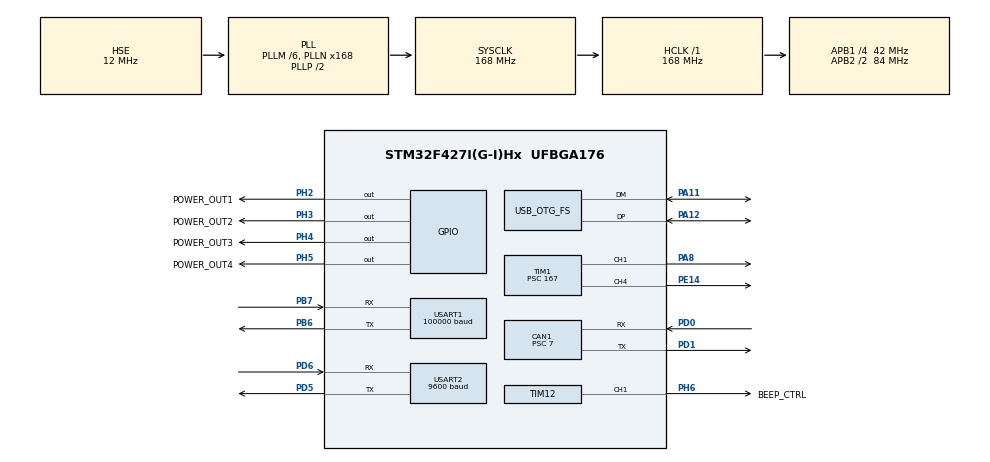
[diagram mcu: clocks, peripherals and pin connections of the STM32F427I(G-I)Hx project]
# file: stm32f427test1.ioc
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CAN1.ABOM=ENABLE
CAN1.AWUM=ENABLE
CAN1.BS1=CAN_BS1_2TQ
CAN1.BS2=CAN_BS2_3TQ
CAN1.CalculateTimeQuantum=166.66666666666669
CAN1.NART=ENABLE
CAN1.Prescaler=7
CAN1.RFLM=DISABLE
CAN1.TXFP=ENABLE
Dma.Request0=USART1_RX
Dma.Request1=USART2_TX
Dma.Request2=USART2_RX
Dma.USART1_RX.0.Direction=DMA_PERIPH_TO_MEMORY
Dma.USART1_RX.0.FIFOMode=DMA_FIFOMODE_DISABLE
Dma.USART1_RX.0.Instance=DMA2_Stream5
Dma.USART1_RX.0.MemDataAlignment=DMA_MDATAALIGN_BYTE
Dma.USART1_RX.0.MemInc=DMA_MINC_ENABLE
Dma.USART1_RX.0.Mode=DMA_CIRCULAR
Dma.USART1_RX.0.PeriphDataAlignment=DMA_PDATAALIGN_BYTE
Dma.USART1_RX.0.PeriphInc=DMA_PINC_DISABLE
Dma.USART1_RX.0.Priority=DMA_PRIORITY_LOW
Dma.USART2_RX.2.Direction=DMA_PERIPH_TO_MEMORY
Dma.USART2_RX.2.FIFOMode=DMA_FIFOMODE_DISABLE
Dma.USART2_RX.2.Instance=DMA1_Stream5
Dma.USART2_RX.2.MemDataAlignment=DMA_MDATAALIGN_BYTE
Dma.USART2_RX.2.MemInc=DMA_MINC_ENABLE
Dma.USART2_RX.2.Mode=DMA_CIRCULAR
Dma.USART2_RX.2.PeriphDataAlignment=DMA_PDATAALIGN_BYTE
Dma.USART2_RX.2.PeriphInc=DMA_PINC_DISABLE
Dma.USART2_RX.2.Priority=DMA_PRIORITY_HIGH
Dma.USART2_TX.1.Direction=DMA_MEMORY_TO_PERIPH
Dma.USART2_TX.1.FIFOMode=DMA_FIFOMODE_DISABLE
Dma.USART2_TX.1.Instance=DMA1_Stream6
Dma.USART2_TX.1.MemDataAlignment=DMA_MDATAALIGN_BYTE
Dma.USART2_TX.1.MemInc=DMA_MINC_ENABLE
Dma.USART2_TX.1.Mode=DMA_NORMAL
Dma.USART2_TX.1.PeriphDataAlignment=DMA_PDATAALIGN_BYTE
Dma.USART2_TX.1.PeriphInc=DMA_PINC_DISABLE
Dma.USART2_TX.1.Priority=DMA_PRIORITY_HIGH
FREERTOS.BinarySemaphores01=myBinarySem01,Dynamic,NULL
FREERTOS.CountingSemaphores01=myCountingSem01,5,Dynamic,NULL
FREERTOS.INCLUDE_vTaskDelay=1
FREERTOS.INCLUDE_vTaskDelayUntil=1
FREERTOS.Queues01=myQueue01,5,uint16_t,0,Dynamic,NULL,NULL
FREERTOS.Tasks01=StartCreat,0,128,StartCreatTask,Default,NULL,Dynamic,NULL,NULL;myTask01,-3,128,StartTask01,Default,NULL,Dynamic,NULL,NULL
FREERTOS.configUSE_COUNTING_SEMAPHORES=1
Mcu.Family=STM32F4
Mcu.Name=STM32F427I(G-I)Hx
Mcu.Package=UFBGA176
NVIC.CAN1_RX0_IRQn=true\:5\:0\:true\:false\:true\:true\:true
NVIC.CAN1_TX_IRQn=true\:5\:0\:true\:false\:true\:true\:true
NVIC.DMA1_Stream5_IRQn=true\:5\:0\:false\:false\:true\:true\:false
NVIC.DMA1_Stream6_IRQn=true\:5\:0\:false\:false\:true\:true\:false
NVIC.DMA2_Stream5_IRQn=true\:5\:0\:false\:false\:true\:true\:false
NVIC.OTG_FS_IRQn=true\:5\:0\:false\:false\:true\:true\:false
NVIC.PriorityGroup=NVIC_PRIORITYGROUP_4
NVIC.TIM2_IRQn=true\:0\:0\:false\:false\:true\:false\:false
NVIC.TimeBase=TIM2_IRQn
NVIC.TimeBaseIP=TIM2
NVIC.USART1_IRQn=true\:5\:0\:true\:false\:true\:true\:true
NVIC.USART2_IRQn=true\:5\:0\:true\:false\:true\:true\:true
PA11.Mode=Device_Only
PA11.Signal=USB_OTG_FS_DM
PA12.Mode=Device_Only
PA12.Signal=USB_OTG_FS_DP
PA13.Mode=Serial_Wire
PA13.Signal=SYS_JTMS-SWDIO
PA14.Mode=Serial_Wire
PA14.Signal=SYS_JTCK-SWCLK
PA8.Signal=S_TIM1_CH1
PB6.Mode=Asynchronous
PB6.Signal=USART1_TX
PB7.Mode=Asynchronous
PB7.Signal=USART1_RX
PD0.Mode=Master
PD0.Signal=CAN1_RX
PD1.Mode=Master
PD1.Signal=CAN1_TX
PD5.Mode=Asynchronous
PD5.Signal=USART2_TX
PD6.Mode=Asynchronous
PD6.Signal=USART2_RX
PE14.Signal=S_TIM1_CH4
PH0/OSC_IN.Mode=HSE-External-Oscillator
PH0/OSC_IN.Signal=RCC_OSC_IN
PH1/OSC_OUT.Mode=HSE-External-Oscillator
PH1/OSC_OUT.Signal=RCC_OSC_OUT
PH2.GPIO_Label=POWER_OUT1
PH2.Signal=GPIO_Output
PH3.GPIO_Label=POWER_OUT2
PH3.Signal=GPIO_Output
PH4.GPIO_Label=POWER_OUT3
PH4.Signal=GPIO_Output
PH5.GPIO_Label=POWER_OUT4
PH5.Signal=GPIO_Output
PH6.GPIO_Label=BEEP_CTRL
PH6.GPIO_ModeDefaultPP=GPIO_MODE_AF_PP
PH6.Signal=S_TIM12_CH1
ProjectManager.HeapSize=0x200
ProjectManager.StackSize=0x400
ProjectManager.TargetToolchain=MDK-ARM V5
RCC.48MHZClocksFreq_Value=48000000
RCC.AHBFreq_Value=168000000
RCC.APB1CLKDivider=RCC_HCLK_DIV4
RCC.APB1Freq_Value=42000000
RCC.APB1TimFreq_Value=84000000
RCC.APB2CLKDivider=RCC_HCLK_DIV2
RCC.APB2Freq_Value=84000000
RCC.APB2TimFreq_Value=168000000
RCC.CortexFreq_Value=168000000
RCC.HCLKFreq_Value=168000000
RCC.HSE_VALUE=12000000
RCC.HSI_VALUE=16000000
RCC.LSE_VALUE=32768
RCC.PLLM=6
RCC.PLLN=168
RCC.PLLQ=7
RCC.SYSCLKFreq_VALUE=168000000
RCC.SYSCLKSource=RCC_SYSCLKSOURCE_PLLCLK
RCC.VCOOutputFreq_Value=336000000
SH.S_TIM12_CH1.0=TIM12_CH1,PWM Generation1 CH1
SH.S_TIM1_CH1.0=TIM1_CH1,PWM Generation1 CH1
SH.S_TIM1_CH4.0=TIM1_CH4,PWM Generation4 CH4
TIM1.Channel-PWM\ Generation1\ CH1=TIM_CHANNEL_1
TIM1.Channel-PWM\ Generation4\ CH4=TIM_CHANNEL_4
TIM1.Period=20000-1
TIM1.Prescaler=167
TIM1.Pulse-PWM\ Generation1\ CH1=1000
TIM1.Pulse-PWM\ Generation4\ CH4=1000
TIM12.Channel-PWM\ Generation1\ CH1=TIM_CHANNEL_1
TIM12.Period=20000-1
TIM12.Prescaler=83
USART1.BaudRate=100000
USART1.Mode=MODE_RX
USART1.Parity=PARITY_EVEN
USART1.VirtualMode=VM_ASYNC
USART2.BaudRate=9600
USART2.VirtualMode=VM_ASYNC
USB_DEVICE.CLASS_NAME_FS=CDC
USB_DEVICE.VirtualMode-CDC_FS=Cdc
USB_DEVICE.VirtualModeFS=Cdc_FS
USB_OTG_FS.VirtualMode=Device_Only
VP_FREERTOS_VS_ENABLE.Mode=Enabled
VP_SYS_VS_tim2.Mode=TIM2
VP_TIM1_VS_ClockSourceINT.Mode=Internal
VP_USB_DEVICE_VS_USB_DEVICE_CDC_FS.Mode=CDC_FS
board=custom

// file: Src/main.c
/**
  ******************************************************************************
  * @file           : main.c
  * @brief          : Main program body
  ******************************************************************************
  * This notice applies to any and all portions of this file
  * that are not between comment pairs USER CODE BEGIN and
  * USER CODE END. Other portions of this file, whether
  * inserted by the user or by software development tools
  * are owned by their respective copyright owners.
  *
  * Copyright (c) 2019 STMicroelectronics International N.V.
  * All rights reserved.
  *
  * Redistribution and use in source and binary forms, with or without
  * modification, are permitted, provided that the following conditions are met:
  *
  * 1. Redistribution of source code must retain the above copyright notice,
  *    this list of conditions and the following disclaimer.
  * 2. Redistributions in binary form must reproduce the above copyright notice,
  *    this list of conditions and the following disclaimer in the documentation
  *    and/or other materials provided with the distribution.
  * 3. Neither the name of STMicroelectronics nor the names of other
  *    contributors to this software may be used to endorse or promote products
  *    derived from this software without specific written permission.
  * 4. This software, including modifications and/or derivative works of this
  *    software, must execute solely and exclusively on microcontroller or
  *    microprocessor devices manufactured by or for STMicroelectronics.
  * 5. Redistribution and use of this software other than as permitted under
  *    this license is void and will automatically terminate your rights under
  *    this license.
  *
  * THIS SOFTWARE IS PROVIDED BY STMICROELECTRONICS AND CONTRIBUTORS "AS IS"
  * AND ANY EXPRESS, IMPLIED OR STATUTORY WARRANTIES, INCLUDING, BUT NOT
  * LIMITED TO, THE IMPLIED WARRANTIES OF MERCHANTABILITY, FITNESS FOR A
  * PARTICULAR PURPOSE AND NON-INFRINGEMENT OF THIRD PARTY INTELLECTUAL PROPERTY
  * RIGHTS ARE DISCLAIMED TO THE FULLEST EXTENT PERMITTED BY LAW. IN NO EVENT
  * SHALL STMICROELECTRONICS OR CONTRIBUTORS BE LIABLE FOR ANY DIRECT, INDIRECT,
  * INCIDENTAL, SPECIAL, EXEMPLARY, OR CONSEQUENTIAL DAMAGES (INCLUDING, BUT NOT
  * LIMITED TO, PROCUREMENT OF SUBSTITUTE GOODS OR SERVICES; LOSS OF USE, DATA,
  * OR PROFITS; OR BUSINESS INTERRUPTION) HOWEVER CAUSED AND ON ANY THEORY OF
  * LIABILITY, WHETHER IN CONTRACT, STRICT LIABILITY, OR TORT (INCLUDING
  * NEGLIGENCE OR OTHERWISE) ARISING IN ANY WAY OUT OF THE USE OF THIS SOFTWARE,
  * EVEN IF ADVISED OF THE POSSIBILITY OF SUCH DAMAGE.
  *
  ******************************************************************************
  */
#include "main.h"
#include "stm32f4xx_hal.h"
#include "cmsis_os.h"
#include "usb_device.h"

/* USER CODE BEGIN Includes */
//#include "usart.h"
#include "can.h"
#include "usart.h"
#include "freecars_usart.h"
#include "mpu6600_hal.h"
//#include "Tim.h"
#include "pwm.h"
#include "RC_handle.h"
/* USER CODE END Includes */

CAN_HandleTypeDef hcan1;

TIM_HandleTypeDef htim1;
TIM_HandleTypeDef htim12;

UART_HandleTypeDef huart1;
UART_HandleTypeDef huart2;
DMA_HandleTypeDef hdma_usart1_rx;
DMA_HandleTypeDef hdma_usart2_tx;
DMA_HandleTypeDef hdma_usart2_rx;

osThreadId StartCreatHandle;
osThreadId myTask01Handle;
osMessageQId myQueue01Handle;
osSemaphoreId myBinarySem01Handle;
osSemaphoreId myCountingSem01Handle;

/* USER CODE BEGIN PV */
/* Private variables ---------------------------------------------------------*/

//SPI_HandleTypeDef hspi5;  //声明spi句柄

//void myRX_usart_IT(void);
//void myTX_usart_IT(void);
void myUsart_DMA_TX(void);
void myUsart_DMA_RX(void);
void drv_can_init(void);
void dr16_uart_init(void );
void MY_FREERTOS_INIT(void);

/* USER CODE END PV */

void SystemClock_Config(void);
static void MX_GPIO_Init(void);
static void MX_DMA_Init(void);
static void MX_USART1_UART_Init(void);
static void MX_CAN1_Init(void);
static void MX_USART2_UART_Init(void);
static void MX_TIM12_Init(void);
static void MX_TIM1_Init(void);
void StartCreatTask(void const * argument);
void StartTask01(void const * argument);

void HAL_TIM_MspPostInit(TIM_HandleTypeDef *htim);

/* USER CODE BEGIN PFP */
/* Private function prototypes -----------------------------------------------*/

/* USER CODE END PFP */

int main(void)
{

  /* MCU Configuration----------------------------------------------------------*/

  /* Reset of all peripherals, Initializes the Flash interface and the Systick. */
  HAL_Init();

  /* Configure the system clock */
  SystemClock_Config();

  /* Initialize all configured peripherals */
  MX_GPIO_Init();
  MX_DMA_Init();
  MX_USART1_UART_Init();
  MX_CAN1_Init();
  MX_USART2_UART_Init();
  MX_TIM12_Init();
  MX_TIM1_Init();
  /* USER CODE BEGIN 2 */

  HAL_TIM_PWM_Start(&htim1,TIM_CHANNEL_1);
  HAL_TIM_PWM_Start(&htim1,TIM_CHANNEL_4);
  //myRX_usart_IT();//USART中断mode
	//myTX_usart_IT();//USART中断mode
	//myUsart_DMA_TX();//DMA mode  USART2
	myUsart_DMA_RX();//DMA mode	 USART2  circular接收
	dr16_uart_init();  //USART1空闲中断，接收不定长遥控数据
	drv_can_init();//CAN过滤器配置
	HAL_GPIO_WritePin(GPIOH, POWER_OUT1_Pin|POWER_OUT2_Pin|POWER_OUT3_Pin|POWER_OUT4_Pin, GPIO_PIN_SET); // switch on 24v power
	//tim_start();
	//HAL_TIM_PWM_Start(&htim1,TIM_CHANNEL_1);
	//HAL_TIM_PWM_Start(&htim1,TIM_CHANNEL_4);
	//htim1.Instance->CCR1 = 1000;
	//htim1.Instance->CCR4 = 500;
	// pwmInit(50,5.0);
	//pwm_device_init();
  //mpuInit();
  /* USER CODE END 2 */

  /* Create the semaphores(s) */
  /* definition and creation of myBinarySem01 */
  osSemaphoreDef(myBinarySem01);
  myBinarySem01Handle = osSemaphoreCreate(osSemaphore(myBinarySem01), 1);

  /* definition and creation of myCountingSem01 */
  osSemaphoreDef(myCountingSem01);
  myCountingSem01Handle = osSemaphoreCreate(osSemaphore(myCountingSem01), 5);

  /* Create the thread(s) */
  /* definition and creation of StartCreat */
  osThreadDef(StartCreat, StartCreatTask, osPriorityNormal, 0, 128);
  StartCreatHandle = osThreadCreate(osThread(StartCreat), NULL);

  /* definition and creation of myTask01 */
  osThreadDef(myTask01, StartTask01, osPriorityIdle, 0, 128);
  myTask01Handle = osThreadCreate(osThread(myTask01), NULL);

  /* USER CODE BEGIN RTOS_THREADS */
  /* add threads, ... */
	MY_FREERTOS_INIT();
  /* USER CODE END RTOS_THREADS */

  /* Create the queue(s) */
  /* definition and creation of myQueue01 */
/* what about the sizeof here??? cd native code */
  osMessageQDef(myQueue01, 5, uint16_t);
  myQueue01Handle = osMessageCreate(osMessageQ(myQueue01), NULL);

  /* USER CODE BEGIN RTOS_QUEUES */
  /* add queues, ... */
	//portEXIT_CRITICAL();//启动ISR中断嵌套
  /* USER CODE END RTOS_QUEUES */

  /* Start scheduler */
  osKernelStart();

  /* We should never get here as control is now taken by the scheduler */

  /* Infinite loop */
  while (1)
  {

  /* USER CODE BEGIN 3 */

		//HAL_UART_Transmit(&huart2,(uint8_t*)aRxBuffer,2,0xffff);

  }
  /* USER CODE END 3 */

}

void SystemClock_Config(void)
{

  RCC_OscInitTypeDef RCC_OscInitStruct;
  RCC_ClkInitTypeDef RCC_ClkInitStruct;

    /**Configure the main internal regulator output voltage
    */
  __HAL_RCC_PWR_CLK_ENABLE();

  __HAL_PWR_VOLTAGESCALING_CONFIG(PWR_REGULATOR_VOLTAGE_SCALE1);

    /**Initializes the CPU, AHB and APB busses clocks
    */
  RCC_OscInitStruct.OscillatorType = RCC_OSCILLATORTYPE_HSE;
  RCC_OscInitStruct.HSEState = RCC_HSE_ON;
  RCC_OscInitStruct.PLL.PLLState = RCC_PLL_ON;
  RCC_OscInitStruct.PLL.PLLSource = RCC_PLLSOURCE_HSE;
  RCC_OscInitStruct.PLL.PLLM = 6;
  RCC_OscInitStruct.PLL.PLLN = 168;
  RCC_OscInitStruct.PLL.PLLP = RCC_PLLP_DIV2;
  RCC_OscInitStruct.PLL.PLLQ = 7;
  if (HAL_RCC_OscConfig(&RCC_OscInitStruct) != HAL_OK)
  {
    _Error_Handler(__FILE__, __LINE__);
  }

    /**Initializes the CPU, AHB and APB busses clocks
    */
  RCC_ClkInitStruct.ClockType = RCC_CLOCKTYPE_HCLK|RCC_CLOCKTYPE_SYSCLK
                              |RCC_CLOCKTYPE_PCLK1|RCC_CLOCKTYPE_PCLK2;
  RCC_ClkInitStruct.SYSCLKSource = RCC_SYSCLKSOURCE_PLLCLK;
  RCC_ClkInitStruct.AHBCLKDivider = RCC_SYSCLK_DIV1;
  RCC_ClkInitStruct.APB1CLKDivider = RCC_HCLK_DIV4;
  RCC_ClkInitStruct.APB2CLKDivider = RCC_HCLK_DIV2;

  if (HAL_RCC_ClockConfig(&RCC_ClkInitStruct, FLASH_LATENCY_5) != HAL_OK)
  {
    _Error_Handler(__FILE__, __LINE__);
  }

    /**Configure the Systick interrupt time
    */
  HAL_SYSTICK_Config(HAL_RCC_GetHCLKFreq()/1000);

    /**Configure the Systick
    */
  HAL_SYSTICK_CLKSourceConfig(SYSTICK_CLKSOURCE_HCLK);

  /* SysTick_IRQn interrupt configuration */
  HAL_NVIC_SetPriority(SysTick_IRQn, 15, 0);
}

/* CAN1 init function */
static void MX_CAN1_Init(void)
{

  hcan1.Instance = CAN1;
  hcan1.Init.Prescaler = 7;
  hcan1.Init.Mode = CAN_MODE_NORMAL;
  hcan1.Init.SyncJumpWidth = CAN_SJW_1TQ;
  hcan1.Init.TimeSeg1 = CAN_BS1_2TQ;
  hcan1.Init.TimeSeg2 = CAN_BS2_3TQ;
  hcan1.Init.TimeTriggeredMode = DISABLE;
  hcan1.Init.AutoBusOff = ENABLE;
  hcan1.Init.AutoWakeUp = ENABLE;
  hcan1.Init.AutoRetransmission = ENABLE;
  hcan1.Init.ReceiveFifoLocked = DISABLE;
  hcan1.Init.TransmitFifoPriority = ENABLE;
  if (HAL_CAN_Init(&hcan1) != HAL_OK)
  {
    _Error_Handler(__FILE__, __LINE__);
  }

}

/* TIM1 init function */
static void MX_TIM1_Init(void)
{

  TIM_ClockConfigTypeDef sClockSourceConfig;
  TIM_MasterConfigTypeDef sMasterConfig;
  TIM_OC_InitTypeDef sConfigOC;
  TIM_BreakDeadTimeConfigTypeDef sBreakDeadTimeConfig;

  htim1.Instance = TIM1;
  htim1.Init.Prescaler = 167;
  htim1.Init.CounterMode = TIM_COUNTERMODE_UP;
  htim1.Init.Period = 20000-1;
  htim1.Init.ClockDivision = TIM_CLOCKDIVISION_DIV1;
  htim1.Init.RepetitionCounter = 0;
  if (HAL_TIM_Base_Init(&htim1) != HAL_OK)
  {
    _Error_Handler(__FILE__, __LINE__);
  }

  sClockSourceConfig.ClockSource = TIM_CLOCKSOURCE_INTERNAL;
  if (HAL_TIM_ConfigClockSource(&htim1, &sClockSourceConfig) != HAL_OK)
  {
    _Error_Handler(__FILE__, __LINE__);
  }

  if (HAL_TIM_PWM_Init(&htim1) != HAL_OK)
  {
    _Error_Handler(__FILE__, __LINE__);
  }

  sMasterConfig.MasterOutputTrigger = TIM_TRGO_RESET;
  sMasterConfig.MasterSlaveMode = TIM_MASTERSLAVEMODE_DISABLE;
  if (HAL_TIMEx_MasterConfigSynchronization(&htim1, &sMasterConfig) != HAL_OK)
  {
    _Error_Handler(__FILE__, __LINE__);
  }

  sConfigOC.OCMode = TIM_OCMODE_PWM1;
  sConfigOC.Pulse = 1000;
  sConfigOC.OCPolarity = TIM_OCPOLARITY_HIGH;
  sConfigOC.OCNPolarity = TIM_OCNPOLARITY_HIGH;
  sConfigOC.OCFastMode = TIM_OCFAST_DISABLE;
  sConfigOC.OCIdleState = TIM_OCIDLESTATE_RESET;
  sConfigOC.OCNIdleState = TIM_OCNIDLESTATE_RESET;
  if (HAL_TIM_PWM_ConfigChannel(&htim1, &sConfigOC, TIM_CHANNEL_1) != HAL_OK)
  {
    _Error_Handler(__FILE__, __LINE__);
  }

  if (HAL_TIM_PWM_ConfigChannel(&htim1, &sConfigOC, TIM_CHANNEL_4) != HAL_OK)
  {
    _Error_Handler(__FILE__, __LINE__);
  }

  sBreakDeadTimeConfig.OffStateRunMode = TIM_OSSR_DISABLE;
  sBreakDeadTimeConfig.OffStateIDLEMode = TIM_OSSI_DISABLE;
  sBreakDeadTimeConfig.LockLevel = TIM_LOCKLEVEL_OFF;
  sBreakDeadTimeConfig.DeadTime = 0;
  sBreakDeadTimeConfig.BreakState = TIM_BREAK_DISABLE;
  sBreakDeadTimeConfig.BreakPolarity = TIM_BREAKPOLARITY_HIGH;
  sBreakDeadTimeConfig.AutomaticOutput = TIM_AUTOMATICOUTPUT_DISABLE;
  if (HAL_TIMEx_ConfigBreakDeadTime(&htim1, &sBreakDeadTimeConfig) != HAL_OK)
  {
    _Error_Handler(__FILE__, __LINE__);
  }

  HAL_TIM_MspPostInit(&htim1);

}

/* TIM12 init function */
static void MX_TIM12_Init(void)
{

  TIM_OC_InitTypeDef sConfigOC;

  htim12.Instance = TIM12;
  htim12.Init.Prescaler = 83;
  htim12.Init.CounterMode = TIM_COUNTERMODE_UP;
  htim12.Init.Period = 20000-1;
  htim12.Init.ClockDivision = TIM_CLOCKDIVISION_DIV1;
  if (HAL_TIM_PWM_Init(&htim12) != HAL_OK)
  {
    _Error_Handler(__FILE__, __LINE__);
  }

  sConfigOC.OCMode = TIM_OCMODE_PWM1;
  sConfigOC.Pulse = 0;
  sConfigOC.OCPolarity = TIM_OCPOLARITY_HIGH;
  sConfigOC.OCFastMode = TIM_OCFAST_DISABLE;
  if (HAL_TIM_PWM_ConfigChannel(&htim12, &sConfigOC, TIM_CHANNEL_1) != HAL_OK)
  {
    _Error_Handler(__FILE__, __LINE__);
  }

  HAL_TIM_MspPostInit(&htim12);

}

/* USART1 init function */
static void MX_USART1_UART_Init(void)
{

  huart1.Instance = USART1;
  huart1.Init.BaudRate = 100000;
  huart1.Init.WordLength = UART_WORDLENGTH_8B;
  huart1.Init.StopBits = UART_STOPBITS_1;
  huart1.Init.Parity = UART_PARITY_EVEN;
  huart1.Init.Mode = UART_MODE_RX;
  huart1.Init.HwFlowCtl = UART_HWCONTROL_NONE;
  huart1.Init.OverSampling = UART_OVERSAMPLING_16;
  if (HAL_UART_Init(&huart1) != HAL_OK)
  {
    _Error_Handler(__FILE__, __LINE__);
  }

}

/* USART2 init function */
static void MX_USART2_UART_Init(void)
{

  huart2.Instance = USART2;
  huart2.Init.BaudRate = 9600;
  huart2.Init.WordLength = UART_WORDLENGTH_8B;
  huart2.Init.StopBits = UART_STOPBITS_1;
  huart2.Init.Parity = UART_PARITY_NONE;
  huart2.Init.Mode = UART_MODE_TX_RX;
  huart2.Init.HwFlowCtl = UART_HWCONTROL_NONE;
  huart2.Init.OverSampling = UART_OVERSAMPLING_16;
  if (HAL_UART_Init(&huart2) != HAL_OK)
  {
    _Error_Handler(__FILE__, __LINE__);
  }

}

static void MX_DMA_Init(void)
{
  /* DMA controller clock enable */
  __HAL_RCC_DMA2_CLK_ENABLE();
  __HAL_RCC_DMA1_CLK_ENABLE();

  /* DMA interrupt init */
  /* DMA1_Stream5_IRQn interrupt configuration */
  HAL_NVIC_SetPriority(DMA1_Stream5_IRQn, 5, 0);
  HAL_NVIC_EnableIRQ(DMA1_Stream5_IRQn);
  /* DMA1_Stream6_IRQn interrupt configuration */
  HAL_NVIC_SetPriority(DMA1_Stream6_IRQn, 5, 0);
  HAL_NVIC_EnableIRQ(DMA1_Stream6_IRQn);
  /* DMA2_Stream5_IRQn interrupt configuration */
  HAL_NVIC_SetPriority(DMA2_Stream5_IRQn, 5, 0);
  HAL_NVIC_EnableIRQ(DMA2_Stream5_IRQn);

}

/** Configure pins as
        * Analog
        * Input
        * Output
        * EVENT_OUT
        * EXTI
*/
static void MX_GPIO_Init(void)
{

  GPIO_InitTypeDef GPIO_InitStruct;

  /* GPIO Ports Clock Enable */
  __HAL_RCC_GPIOA_CLK_ENABLE();
  __HAL_RCC_GPIOB_CLK_ENABLE();
  __HAL_RCC_GPIOD_CLK_ENABLE();
  __HAL_RCC_GPIOH_CLK_ENABLE();
  __HAL_RCC_GPIOE_CLK_ENABLE();

  /*Configure GPIO pin Output Level */
  HAL_GPIO_WritePin(GPIOH, POWER_OUT1_Pin|POWER_OUT2_Pin|POWER_OUT3_Pin|POWER_OUT4_Pin, GPIO_PIN_RESET);

  /*Configure GPIO pins : POWER_OUT1_Pin POWER_OUT2_Pin POWER_OUT3_Pin POWER_OUT4_Pin */
  GPIO_InitStruct.Pin = POWER_OUT1_Pin|POWER_OUT2_Pin|POWER_OUT3_Pin|POWER_OUT4_Pin;
  GPIO_InitStruct.Mode = GPIO_MODE_OUTPUT_PP;
  GPIO_InitStruct.Pull = GPIO_NOPULL;
  GPIO_InitStruct.Speed = GPIO_SPEED_FREQ_LOW;
  HAL_GPIO_Init(GPIOH, &GPIO_InitStruct);

}

/* USER CODE BEGIN Header_StartCreatTask */
/**
  * @brief  Function implementing the StartCreat thread.
  * @param  argument: Not used
  * @retval None
  */
uint16_t dateaa=0;
uint32_t adffd=0;
/* USER CODE END Header_StartCreatTask */
void StartCreatTask(void const * argument)
{
  /* init code for USB_DEVICE */
  //MX_USB_DEVICE_Init();

  /* USER CODE BEGIN 5 */

  //HAL_TIM_PWM_Start(&htim1,TIM_CHANNEL_1);
	//HAL_TIM_PWM_Start(&htim1,TIM_CHANNEL_4);
	portTickType xLastWakeTime;
  xLastWakeTime = xTaskGetTickCount();

	          //__HAL_TIM_SET_COMPARE(&htim1, TIM_CHANNEL_1,1100 );
            //__HAL_TIM_SET_COMPARE(&htim1, TIM_CHANNEL_4,1100 );
	//TIM1->CCR1=1250;
	//TIM1->CCR4=1250;
	//user_pwm_setvalue(1250);
	//setPWMDuty(0.07);
	fic_shoot.target_fric_spd[0]=0;
	fic_shoot.target_fric_spd[1]=0;
  /* Infinite loop */
  for(;;)
  {
		adffd++;
		shoot_fric_ctrl(&fic_shoot);
		//FreeCars_Send();
		//myTX_usart_IT();
	//PWM_SetDuty(&htim1,TIM_CHANNEL_1,50.00);
	//PWM_SetDuty(&htim1,TIM_CHANNEL_4,50.00);
		//htim1.Instance->CCR1 = 0;
	//	htim1.Instance->CCR4 = 0;

  if(RC_Info.left ==1)
	{
	  //TIM1->CCR1=1250;
		//TIM1->CCR4=1250;
		//user_pwm_setvalue(1250);
		         //__HAL_TIM_SET_COMPARE(&htim1, TIM_CHANNEL_1,1200 );
		         //__HAL_TIM_SET_COMPARE(&htim1, TIM_CHANNEL_4,1200 );
		fic_shoot.target_fric_spd[0]=1370;
	  fic_shoot.target_fric_spd[1]=1370;
		//osDelay(2);
	}
	else
	{
	 // TIM1->CCR1=1000;
	//	TIM1->CCR4=1000;
		//user_pwm_setvalue(1000);
		        //__HAL_TIM_SET_COMPARE(&htim1, TIM_CHANNEL_1,1000 );
	    	    //__HAL_TIM_SET_COMPARE(&htim1, TIM_CHANNEL_4,1000 );
//		TIM_CCxChannelCmd(TIM1, TIM_CHANNEL_1, TIM_CCx_ENABLE);
//	TIM_CCxChannelCmd(TIM1, TIM_CHANNEL_4, TIM_CCx_ENABLE);
//	__HAL_TIM_MOE_ENABLE(&htim1);
//	__HAL_TIM_ENABLE(&htim1);
		fic_shoot.target_fric_spd[0]=0;
	  fic_shoot.target_fric_spd[1]=0;
		//osDelay(2);
	}
		shoot_fric_ctrl(&fic_shoot);
		//__HAL_TIM_SET_COMPARE(&htim1, TIM_CHANNEL_1,1250 );
    //__HAL_TIM_SET_COMPARE(&htim1, TIM_CHANNEL_4,1250 );
    //shoot_set_fric_speed(pshoot, 1250, 1250);
	//htim1.Instance->CCR1 = 6000-1;
	//htim1.Instance->CCR4 = 1250;
	 //fric_set_output(500,500);
		//setPWMDuty(0.06);

		//TIM1->CCR1=1250;
		//TIM1->CCR4=1250;

     osDelayUntil(&xLastWakeTime, 5);//周期1000ms
		//HAL_TIM_PWM_Start(&htim1,TIM_CHANNEL_1);
  }
  /* USER CODE END 5 */
}

void StartTask01(void const * argument)
{
  /* USER CODE BEGIN StartTask01 */
  /* Infinite loop */

	//myUsart_DMA_RX();

  for(;;)
  {
		if((myBinarySem01Handle != NULL))
			{
				 /*Try to obtain the semaphore*/
			if(osSemaphoreWait(myBinarySem01Handle , portMAX_DELAY ) == osOK)
				{
       // myUsart_DMA_TX();
				/*CAN_TransmitMsg.data[0]=0x01;
				CAN_TransmitMsg.data[1]=0xff;
				CAN_TransmitMsg.data[2]=0x01;
				CAN_TransmitMsg.data[3]=0xff;
				CAN_TransmitMsg.data[4]=0;
				CAN_TransmitMsg.data[5]=0;
				CAN_TransmitMsg.data[6]=0x00;
				CAN_TransmitMsg.data[7]=0x00;*/
				//uint8_t TR_BUF[8]={0x08,0xff,0x00,0xff,0x00,0x00,0x00,0x00};
				//CANx_SendNormalData(&hcan1,0x1ff,TR_BUF);
				//set_motor_voltage(1, 0,0 ,0,650);

				}

			}
	}
    //osDelay(1);
  /* USER CODE END StartTask01 */
}

void HAL_TIM_PeriodElapsedCallback(TIM_HandleTypeDef *htim)
{
  if (htim->Instance == TIM2) {
    HAL_IncTick();
  }
}

void _Error_Handler(char *file, int line)
{
  while(1)
  {
  }
}

/************************ (C) COPYRIGHT STMicroelectronics *****END OF FILE****/

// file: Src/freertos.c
/* USER CODE BEGIN Header */
/**
  ******************************************************************************
  * File Name          : freertos.c
  * Description        : Code for freertos applications
  ******************************************************************************
  * This notice applies to any and all portions of this file
  * that are not between comment pairs USER CODE BEGIN and
  * USER CODE END. Other portions of this file, whether
  * inserted by the user or by software development tools
  * are owned by their respective copyright owners.
  *
  * Copyright (c) 2019 STMicroelectronics International N.V.
  * All rights reserved.
  *
  * Redistribution and use in source and binary forms, with or without
  * modification, are permitted, provided that the following conditions are met:
  *
  * 1. Redistribution of source code must retain the above copyright notice,
  *    this list of conditions and the following disclaimer.
  * 2. Redistributions in binary form must reproduce the above copyright notice,
  *    this list of conditions and the following disclaimer in the documentation
  *    and/or other materials provided with the distribution.
  * 3. Neither the name of STMicroelectronics nor the names of other
  *    contributors to this software may be used to endorse or promote products
  *    derived from this software without specific written permission.
  * 4. This software, including modifications and/or derivative works of this
  *    software, must execute solely and exclusively on microcontroller or
  *    microprocessor devices manufactured by or for STMicroelectronics.
  * 5. Redistribution and use of this software other than as permitted under
  *    this license is void and will automatically terminate your rights under
  *    this license.
  *
  * THIS SOFTWARE IS PROVIDED BY STMICROELECTRONICS AND CONTRIBUTORS "AS IS"
  * AND ANY EXPRESS, IMPLIED OR STATUTORY WARRANTIES, INCLUDING, BUT NOT
  * LIMITED TO, THE IMPLIED WARRANTIES OF MERCHANTABILITY, FITNESS FOR A
  * PARTICULAR PURPOSE AND NON-INFRINGEMENT OF THIRD PARTY INTELLECTUAL PROPERTY
  * RIGHTS ARE DISCLAIMED TO THE FULLEST EXTENT PERMITTED BY LAW. IN NO EVENT
  * SHALL STMICROELECTRONICS OR CONTRIBUTORS BE LIABLE FOR ANY DIRECT, INDIRECT,
  * INCIDENTAL, SPECIAL, EXEMPLARY, OR CONSEQUENTIAL DAMAGES (INCLUDING, BUT NOT
  * LIMITED TO, PROCUREMENT OF SUBSTITUTE GOODS OR SERVICES; LOSS OF USE, DATA,
  * OR PROFITS; OR BUSINESS INTERRUPTION) HOWEVER CAUSED AND ON ANY THEORY OF
  * LIABILITY, WHETHER IN CONTRACT, STRICT LIABILITY, OR TORT (INCLUDING
  * NEGLIGENCE OR OTHERWISE) ARISING IN ANY WAY OUT OF THE USE OF THIS SOFTWARE,
  * EVEN IF ADVISED OF THE POSSIBILITY OF SUCH DAMAGE.
  *
  ******************************************************************************
  */
/* USER CODE END Header */

#include "FreeRTOS.h"
#include "task.h"
#include "main.h"

/* USER CODE BEGIN Includes */
#include "cmsis_os.h"
#include "chassis_task.h"
#include "IMU_gambal_task.h"
#include "communicate_task.h"
#include "angle_gambal_task.h"
/* USER CODE END Includes */

/* USER CODE BEGIN PTD */
osThreadId chassis_task_handle;
osThreadId IMU_gambal_task_handle;
osThreadId communicate_task_handle;
osThreadId ANGLE_gambal_task_handle;
//osThreadId gimbal_task_handle;

/* USER CODE END PTD */

/* USER CODE BEGIN FunctionPrototypes */
void MY_FREERTOS_INIT()
{
	//�����˶�task
    osThreadDef(CHASSIS_TASK, chassis_task, osPriorityHigh, 0, 512);
    chassis_task_handle = osThreadCreate(osThread(CHASSIS_TASK), NULL);

  	osThreadDef(IMU_GAMBAL_TASK, IMU_gambal_task, osPriorityHigh, 0, 512);
    IMU_gambal_task_handle = osThreadCreate(osThread(IMU_GAMBAL_TASK), NULL);

    osThreadDef(COMMUNICATE_TASK, communicate_task, osPriorityNormal, 0, 4096);
    communicate_task_handle = osThreadCreate(osThread(COMMUNICATE_TASK), NULL);

    osThreadDef(ANGLE_GAMBAL_TASK, ANGLE_gambal_task, osPriorityNormal, 0, 512);
    ANGLE_gambal_task_handle = osThreadCreate(osThread(ANGLE_GAMBAL_TASK), NULL);

}
/* USER CODE END FunctionPrototypes */

/************************ (C) COPYRIGHT STMicroelectronics *****END OF FILE****/
